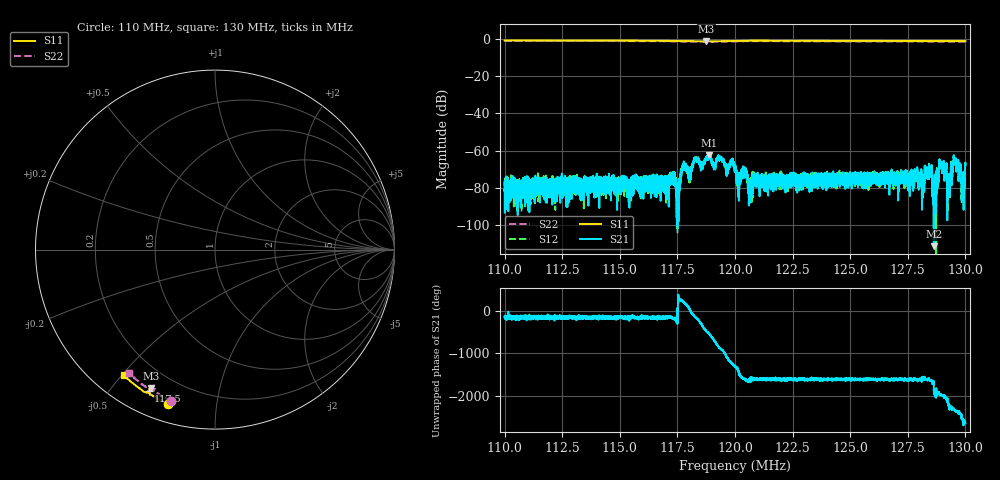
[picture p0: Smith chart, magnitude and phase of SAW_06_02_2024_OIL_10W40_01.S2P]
!Agilent Technologies,E5071C,MY46520923,B.12.03
!Date: Wed Feb 07 10:59:04 2024
!Data & Calibration Information:
!Freq	S11:SOLT2(ON)	S21:SOLT2(ON)	S12:SOLT2(ON)	S22:SOLT2(ON)
!PortZ  Port1:50+j0  Port2:50+j0
!Above PortZ is port z conversion or system Z0 setting when saving the data.
!When reading, reference impedance value at option line is always used.
# Hz S dB R 50
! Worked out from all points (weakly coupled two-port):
!   10000 points, 110 MHz to 130 MHz, reference 50 ohm
!   highest |S21| = -62.34 dB at 118.9 MHz (marker M1); lowest = -111.3 dB at 128.6 MHz (marker M2)
!   lowest |S11| = -1.4 dB at 118.8 MHz (marker M3), VSWR 12.47, Z = 5.64 - j31.7 ohm
!   |S11| at or under -10 dB: nowhere
!   |S22| runs from -1.6 to -1.1 dB; largest |S21 - S12| = 0.00021
!   S11 on the Smith chart (normalised r, x): 110 MHz: 0.08, -0.74; 117.5 MHz: 0.10, -0.63; 130 MHz: 0.09, -0.51
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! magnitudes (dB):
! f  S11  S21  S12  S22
! 110 MHz  -0.9  -78.4  -80.6  -1.1
! 113.3 MHz  -1.0  -79.0  -80.0  -1.2
! 116.7 MHz  -1.1  -80.2  -77.3  -1.3
! 117.5 MHz  -1.2  -85.1  -83.7  -1.5
! 117.8 MHz  -1.3  -68.0  -67.6  -1.5
! 118 MHz  -1.3  -72.7  -74.6  -1.6
! 118.3 MHz  -1.4  -64.7  -65.1  -1.6
! 118.8 MHz  -1.4  -64.2  -63.9  -1.6
! 118.9 MHz  -1.4  -62.3  -63.0  -1.6
! 120 MHz  -1.2  -68.0  -68.7  -1.4
! 120.1 MHz  -1.2  -77.3  -74.7  -1.4
! 120.7 MHz  -1.1  -82.1  -79.2  -1.3
! 123.3 MHz  -1.1  -74.6  -73.9  -1.4
! 126.7 MHz  -1.2  -73.5  -73.2  -1.5
! 128.1 MHz  -1.2  -78.8  -86.9  -1.5
! 128.5 MHz  -1.2  -72.3  -74.1  -1.5
! 128.6 MHz  -1.2  -111.3  -101.6  -1.5
! 129 MHz  -1.2  -66.4  -67.8  -1.5
! 129.3 MHz  -1.2  -76.5  -76.6  -1.5
! 129.6 MHz  -1.3  -65.2  -65.2  -1.5
! 129.9 MHz  -1.3  -75.7  -78.2  -1.5
! 130 MHz  -1.3  -66.7  -67.4  -1.5
